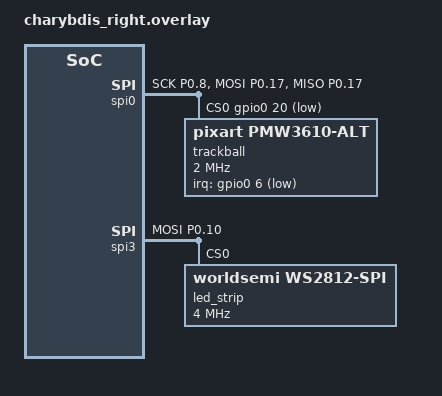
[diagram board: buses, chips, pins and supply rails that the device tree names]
/*
 * Copyright (c) 2020 ZMK Contributors
 *
 * SPDX-License-Identifier: MIT
 */
 
#include "charybdis.dtsi"
#include <dt-bindings/input/input-event-codes.h>

#define INPUT_EV_KEY 0x01               /**< Key event */
#define INPUT_EV_REL 0x02               /**< Relative coordinate event */
#define INPUT_EV_ABS 0x03               /**< Absolute coordinate event */
#define INPUT_EV_MSC 0x04               /**< Miscellaneous event */
#define INPUT_EV_VENDOR_START 0xf0      /**< Vendor specific event start */
#define INPUT_EV_VENDOR_STOP 0xff       /**< Vendor specific event stop */

#define INPUT_REL_X 0x00                /**< Relative X coordinate */
#define INPUT_REL_Y 0x01                /**< Relative Y coordinate */
#define INPUT_REL_WHEEL 0x08            /**< Relative wheel coordinate */
#define INPUT_REL_HWHEEL 0x06           /**< Relative horizontal wheel coordinate */
#define INPUT_REL_MISC 0x09             /**< Relative misc coordinate */

&default_transform {
    col-offset = <6>;
}; 

&kscan0 {
	col-gpios
		= <&gpio0 2 GPIO_ACTIVE_HIGH>
		, <&gpio0 29 GPIO_ACTIVE_HIGH>
		, <&gpio0 9 GPIO_ACTIVE_HIGH>
		, <&gpio1 0  GPIO_ACTIVE_HIGH>
		, <&gpio0 11 GPIO_ACTIVE_HIGH>
		, <&gpio1 4  GPIO_ACTIVE_HIGH>
		;
};

// trackball
&pinctrl {
    spi0_default: spi0_default {
        group1 {
            psels = <NRF_PSEL(SPIM_SCK, 0, 8)>,   // SCK
                    <NRF_PSEL(SPIM_MOSI, 0, 17)>, // MOSI
                    <NRF_PSEL(SPIM_MISO, 0, 17)>; // MISO (на Charybdis MOSI и MISO обычно на одном пине)
        };
    };

    spi0_sleep: spi0_sleep {
        group1 {
            psels = <NRF_PSEL(SPIM_SCK, 0, 8)>,
                    <NRF_PSEL(SPIM_MOSI, 0, 17)>,
                    <NRF_PSEL(SPIM_MISO, 0, 17)>;
            low-power-enable;
        };
    };
};
&spi0 {
    status = "okay";
    pinctrl-0 = <&spi0_default>;
    pinctrl-1 = <&spi0_sleep>;
    pinctrl-names = "default", "sleep";

    cs-gpios = <&gpio0 20 GPIO_ACTIVE_LOW>;

    trackball: pmw3610@0 {
        compatible = "pixart,pmw3610-alt";  // ← Главное: -alt для избежания конфликта
        label = "trackball";
        reg = <0>;
        irq-gpios = <&gpio0 6 (GPIO_ACTIVE_LOW | GPIO_PULL_UP)>;  // ← irq-gpios, не motion
        spi-max-frequency = <2000000>;

        cpi = <1300>;

        invert-x;  // Инверсия X

        force-awake;
        force-awake-4ms-mode;  // 250 Hz отзывчивость

        // Обязательные свойства для осей
        evt-type = <INPUT_EV_REL>;
        x-input-code = <INPUT_REL_X>;
        y-input-code = <INPUT_REL_Y>;

        // Если нужно поворот 90° — добавь/убери эти флаги
        // swap-xy;
        // invert-y;

        // Опционально, если "Incorrect product id"
        // init-power-up-extra-delay-ms = <1000>;

        status = "okay";
    };
};


//RGB bus
&pinctrl {
    spi3_default: spi3_default {
        group1 {
            psels = <NRF_PSEL(SPIM_MOSI, 0, 10)>;
        };
    };

    spi3_sleep: spi3_sleep {
        group1 {
            psels = <NRF_PSEL(SPIM_MOSI, 0, 10)>;
            low-power-enable;
        };
    };
};

&spi3 {
    compatible = "nordic,nrf-spim";
    status = "okay";

    pinctrl-0 = <&spi3_default>;
    pinctrl-1 = <&spi3_sleep>;
    pinctrl-names = "default", "sleep";

    led_strip: ws2812@0 {
        compatible = "worldsemi,ws2812-spi";

        /* SPI */
        reg = <0>; /* ignored, but necessary for SPI bindings */
        spi-max-frequency = <4000000>;

        /* WS2812 */
        chain-length = <27>; /* number of LEDs */
        spi-one-frame = <0x70>;
        spi-zero-frame = <0x40>;
        color-mapping = <LED_COLOR_ID_GREEN
                         LED_COLOR_ID_RED
                         LED_COLOR_ID_BLUE>;
    };
};

/{
    trackball_listener {
        compatible = "zmk,input-listener";
        device = <&trackball>;
    };
};
